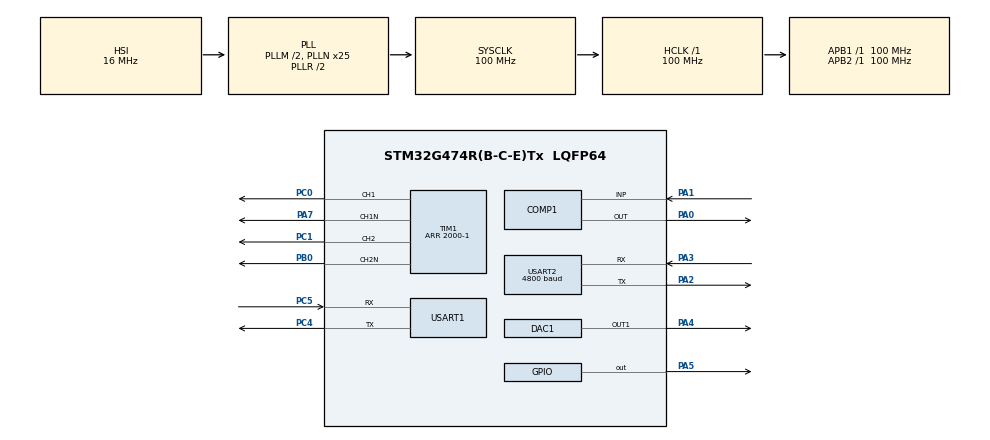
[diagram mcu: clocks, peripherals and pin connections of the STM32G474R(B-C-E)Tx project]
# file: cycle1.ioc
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COMP1.Hysteresis=COMP_HYSTERESIS_MEDIUM
COMP1.TriggerMode=COMP_TRIGGERMODE_IT_RISING_FALLING
DAC1.DAC_Trigger_OUT1-DAC_OUT1_ExtAndInt=DAC_TRIGGER_NONE
Mcu.Family=STM32G4
Mcu.Name=STM32G474R(B-C-E)Tx
Mcu.Package=LQFP64
NVIC.COMP1_2_3_IRQn=true\:0\:0\:false\:false\:true\:false\:true\:true
NVIC.PriorityGroup=NVIC_PRIORITYGROUP_4
NVIC.TIM1_UP_TIM16_IRQn=true\:0\:0\:true\:false\:true\:true\:true\:true
NVIC.TIM2_IRQn=true\:0\:0\:false\:false\:true\:true\:true\:true
NVIC.USART1_IRQn=true\:1\:0\:true\:false\:true\:true\:true\:true
NVIC.USART2_IRQn=true\:0\:0\:false\:false\:true\:true\:true\:true
PA0.Mode=ExternalOutput
PA0.Signal=COMP1_OUT
PA1.Mode=INP
PA1.Signal=COMP1_INP
PA13.Mode=Serial_Wire
PA13.Signal=SYS_JTMS-SWDIO
PA14.Mode=Serial_Wire
PA14.Signal=SYS_JTCK-SWCLK
PA2.Mode=Asynchronous
PA2.Signal=USART2_TX
PA3.Mode=Asynchronous
PA3.Signal=USART2_RX
PA4.Signal=COMP_DAC11_group
PA5.GPIO_PuPd=GPIO_PULLDOWN
PA5.Signal=GPIO_Output
PA7.Mode=PWM Generation1 CH1 CH1N
PA7.Signal=TIM1_CH1N
PB0.Mode=PWM Generation2 CH2 CH2N
PB0.Signal=TIM1_CH2N
PC0.Signal=S_TIM1_CH1
PC1.Signal=S_TIM1_CH2
PC4.Mode=Asynchronous
PC4.Signal=USART1_TX
PC5.Mode=Asynchronous
PC5.Signal=USART1_RX
PF0-OSC_IN.Mode=HSE-External-Oscillator
PF0-OSC_IN.Signal=RCC_OSC_IN
PF1-OSC_OUT.Mode=HSE-External-Oscillator
PF1-OSC_OUT.Signal=RCC_OSC_OUT
ProjectManager.HeapSize=0x200
ProjectManager.StackSize=0x400
ProjectManager.TargetToolchain=STM32CubeIDE
RCC.ADC12Freq_Value=100000000
RCC.ADC345Freq_Value=100000000
RCC.AHBFreq_Value=100000000
RCC.APB1Freq_Value=100000000
RCC.APB1TimFreq_Value=100000000
RCC.APB2Freq_Value=100000000
RCC.APB2TimFreq_Value=100000000
RCC.CortexFreq_Value=100000000
RCC.EXTERNAL_CLOCK_VALUE=12288000
RCC.HCLKFreq_Value=100000000
RCC.HSE_VALUE=8000000
RCC.HSI48_VALUE=48000000
RCC.HSI_VALUE=16000000
RCC.LSE_VALUE=32768
RCC.PLLM=RCC_PLLM_DIV2
RCC.PLLN=25
RCC.SYSCLKFreq_VALUE=100000000
RCC.SYSCLKSource=RCC_SYSCLKSOURCE_PLLCLK
RCC.USBFreq_Value=100000000
RCC.VCOOutputFreq_Value=200000000
SH.COMP_DAC11_group.0=DAC1_OUT1,DAC_OUT1_ExtAndInt
SH.S_TIM1_CH1.0=TIM1_CH1,PWM Generation1 CH1 CH1N
SH.S_TIM1_CH2.0=TIM1_CH2,PWM Generation2 CH2 CH2N
TIM1.AutoReloadPreload=TIM_AUTORELOAD_PRELOAD_ENABLE
TIM1.AutomaticOutput=TIM_AUTOMATICOUTPUT_ENABLE
TIM1.Channel-PWM\ Generation1\ CH1\ CH1N=TIM_CHANNEL_1
TIM1.Channel-PWM\ Generation2\ CH2\ CH2N=TIM_CHANNEL_2
TIM1.DeadTime=10
TIM1.DeadTimePreload=ENABLE
TIM1.OCNPolarity_1=TIM_OCNPOLARITY_HIGH
TIM1.OCNPolarity_2=TIM_OCNPOLARITY_HIGH
TIM1.OffStateIDLEMode=TIM_OSSI_ENABLE
TIM1.OffStateRunMode=TIM_OSSR_ENABLE
TIM1.PeriodNoDither=2000-1
TIM2.PeriodNoDither=60
TIM2.Prescaler=1000-1
USART1.VirtualMode-Asynchronous=VM_ASYNC
USART2.BaudRate=4800
USART2.VirtualMode-Asynchronous=VM_ASYNC
VP_COMP1_VS_DAC1OUT1.Mode=INM_DAC1OUT1
VP_SYS_VS_DBSignals.Mode=DisableDeadBatterySignals
VP_TIM1_VS_ClockSourceINT.Mode=Internal
VP_TIM2_VS_ClockSourceINT.Mode=Internal
board=custom

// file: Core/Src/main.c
/* USER CODE BEGIN Header */
/**
  ******************************************************************************
  * @file           : main.c
  * @brief          : Main program body
  ******************************************************************************
  * @attention
  *
  * Copyright (c) 2024 STMicroelectronics.
  * All rights reserved.
  *
  * This software is licensed under terms that can be found in the LICENSE file
  * in the root directory of this software component.
  * If no LICENSE file comes with this software, it is provided AS-IS.
  *
  ******************************************************************************
  */
/* USER CODE END Header */
#include "main.h"
#include "comp.h"
#include "dac.h"
#include "tim.h"
#include "usart.h"
#include "gpio.h"
#include "string.h"

/* USER CODE BEGIN PV */
float zkb;
char stringbuf[100];
/* USER CODE END PV */

void SystemClock_Config(void);

/* USER CODE BEGIN 0 */
#ifdef __GNUC__
#define PUTCHAR_PROTOTYPE int __io_putchar(int ch)
#else
#define PUTCHAR_PROTOTYPE int fputc(int ch, FILE *f)
#endif

PUTCHAR_PROTOTYPE
{
	HAL_UART_Transmit(&huart1,(uint8_t*)&ch, 1, 0xFFFF);
	return ch;
}

void HAL_COMP_TriggerCallback(COMP_HandleTypeDef *hcomp){
	if(hcomp==&hcomp1){
        __HAL_TIM_SET_COUNTER(&htim2, 0); // 将定时器计数器设置为 0
        HAL_TIM_Base_Start_IT(&htim2);
        HAL_TIM_Base_Start(&htim2);
	}
}

// 更新回调函数
void HAL_TIM_PeriodElapsedCallback(TIM_HandleTypeDef *htim) {
    if (htim == &htim2) {
        HAL_TIM_Base_Stop(&htim2);
		if(HAL_COMP_GetOutputLevel(&hcomp1)==COMP_OUTPUT_LEVEL_HIGH){//判断为上升沿
			HAL_GPIO_WritePin(GPIOA, GPIO_PIN_5, GPIO_PIN_SET);
			TIM1->CCR1=zkb;
			TIM1->CCR2=0;
		}
		if(HAL_COMP_GetOutputLevel(&hcomp1)==COMP_OUTPUT_LEVEL_LOW){//判断为上升沿
			HAL_GPIO_WritePin(GPIOA, GPIO_PIN_5, GPIO_PIN_RESET);
			TIM1->CCR1=0;
			TIM1->CCR2=zkb;
		}
    }
}
/* USER CODE END 0 */

int main(void)
{

  /* MCU Configuration--------------------------------------------------------*/

  /* Reset of all peripherals, Initializes the Flash interface and the Systick. */
  HAL_Init();

  /* Configure the system clock */
  SystemClock_Config();

  /* Initialize all configured peripherals */
  MX_GPIO_Init();
  MX_USART1_UART_Init();
  MX_COMP1_Init();
  MX_DAC1_Init();
  MX_TIM1_Init();
  MX_TIM2_Init();
  MX_USART2_UART_Init();
  /* USER CODE BEGIN 2 */
  OLED_Init();
  OLED_Clear();
  OLED_ShowString(0, 0, "cycle1");
  printf("start\n");

//  HAL_UARTEx_ReceiveToIdle_IT(&huart1, g_vofa_rx_buffer, VOFA_FRAME_RECEIVE_MAX_LENGTH);
  uint32_t VOLTAGE_COMP=3084;

  HAL_COMP_Start(&hcomp1);
  HAL_DAC_SetValue(&hdac1, DAC_CHANNEL_1, DAC_ALIGN_12B_R, VOLTAGE_COMP);//DAC输出2.5V电压
  HAL_DAC_Start(&hdac1,DAC_CHANNEL_1);//启动DAC1

  HAL_TIM_Base_Start(&htim1);
  HAL_TIM_PWM_Start(&htim1,TIM_CHANNEL_1);
  HAL_TIM_PWM_Start(&htim1,TIM_CHANNEL_2);
  HAL_TIMEx_PWMN_Start(&htim1,TIM_CHANNEL_1);
  HAL_TIMEx_PWMN_Start(&htim1,TIM_CHANNEL_2);

  zkb=1000;

//  HAL_UART_Receive_IT(&huart2, &g_uart_rx_byte, 1);
//  ModBus_Test();

  /* USER CODE END 2 */

  /* Infinite loop */
  /* USER CODE BEGIN WHILE */
  while (1)
  {
	  sprintf(stringbuf,"U:%6.2f I:%5.2f",AC_OUT.U,AC_OUT.I);
	  OLED_ShowString(0, 2, stringbuf);
	  sprintf(stringbuf,"duty:%3.1f%%",zkb/20);
	  OLED_ShowString(0, 4, stringbuf);
//	  zkb-=200;
//	  if(zkb<=200)
//		  zkb=1800;
//	  OLED_ShowNum(0, 6, zkb, 4, 16);
//	  ModBus_Test();
//	  HAL_Delay(2000);
    /* USER CODE END WHILE */

  }
}

void SystemClock_Config(void)
{
  RCC_OscInitTypeDef RCC_OscInitStruct = {0};
  RCC_ClkInitTypeDef RCC_ClkInitStruct = {0};

  /** Configure the main internal regulator output voltage
  */
  HAL_PWREx_ControlVoltageScaling(PWR_REGULATOR_VOLTAGE_SCALE1);

  /** Initializes the RCC Oscillators according to the specified parameters
  * in the RCC_OscInitTypeDef structure.
  */
  RCC_OscInitStruct.OscillatorType = RCC_OSCILLATORTYPE_HSI;
  RCC_OscInitStruct.HSIState = RCC_HSI_ON;
  RCC_OscInitStruct.HSICalibrationValue = RCC_HSICALIBRATION_DEFAULT;
  RCC_OscInitStruct.PLL.PLLState = RCC_PLL_ON;
  RCC_OscInitStruct.PLL.PLLSource = RCC_PLLSOURCE_HSI;
  RCC_OscInitStruct.PLL.PLLM = RCC_PLLM_DIV2;
  RCC_OscInitStruct.PLL.PLLN = 25;
  RCC_OscInitStruct.PLL.PLLP = RCC_PLLP_DIV2;
  RCC_OscInitStruct.PLL.PLLQ = RCC_PLLQ_DIV2;
  RCC_OscInitStruct.PLL.PLLR = RCC_PLLR_DIV2;
  if (HAL_RCC_OscConfig(&RCC_OscInitStruct) != HAL_OK)
  {
    Error_Handler();
  }

  /** Initializes the CPU, AHB and APB buses clocks
  */
  RCC_ClkInitStruct.ClockType = RCC_CLOCKTYPE_HCLK|RCC_CLOCKTYPE_SYSCLK
                              |RCC_CLOCKTYPE_PCLK1|RCC_CLOCKTYPE_PCLK2;
  RCC_ClkInitStruct.SYSCLKSource = RCC_SYSCLKSOURCE_PLLCLK;
  RCC_ClkInitStruct.AHBCLKDivider = RCC_SYSCLK_DIV1;
  RCC_ClkInitStruct.APB1CLKDivider = RCC_HCLK_DIV1;
  RCC_ClkInitStruct.APB2CLKDivider = RCC_HCLK_DIV1;

  if (HAL_RCC_ClockConfig(&RCC_ClkInitStruct, FLASH_LATENCY_3) != HAL_OK)
  {
    Error_Handler();
  }
}

void Error_Handler(void)
{
  __disable_irq();
  while (1)
  {
  }
}
